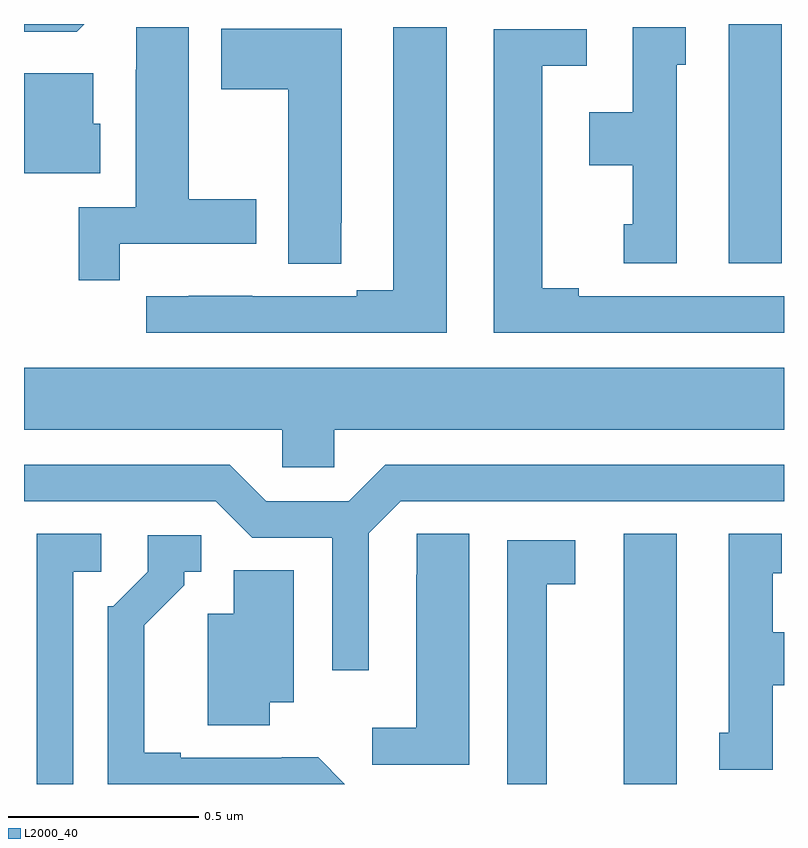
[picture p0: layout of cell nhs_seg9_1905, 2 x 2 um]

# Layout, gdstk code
import gdstk
lib = gdstk.Library(unit=1e-6, precision=1e-09)
def R(c, l, rs):  # rectangles x0, y0, x1, y1
    for r in rs: c.add(gdstk.rectangle(r[:2], r[2:], *l))
def P(c, l, *ps):  # polygons
    for p in ps: c.add(gdstk.Polygon(p, *l))
L2000_40 = (2000, 40)

nhs_seg9_1905 = lib.new_cell('nhs_seg9_1905')
R(nhs_seg9_1905, L2000_40, [(135.578,1183.5,135.718,1184.158), (135.854,1184.871,135.994,1185.5)])
P(nhs_seg9_1905, L2000_40, [(134.159,1185.5),(134,1185.5),(134,1185.48),(134.139,1185.48)],
  [(135.112,1185.491),(134.972,1185.491),(134.972,1184.799),(134.876,1184.799),(134.876,1184.784),(134.6,1184.784),(134.6,1184.785),(134.434,1184.785),(134.434,1184.784),(134.322,1184.784),(134.322,1184.688),(135.112,1184.688)],
  [(135.718,1185.393),(135.742,1185.393),(135.742,1185.491),(135.602,1185.491),(135.602,1185.268),(135.488,1185.268),(135.488,1185.128),(135.602,1185.128),(135.602,1184.973),(135.578,1184.973),(135.578,1184.871),(135.718,1184.871)],
  [(134.252,1184.922),(134.611,1184.922),(134.611,1185.039),(134.434,1185.039),(134.434,1185.491),(134.295,1185.491),(134.295,1185.38),(134.294,1185.38),(134.294,1185.018),(134.144,1185.018),(134.144,1184.826),(134.252,1184.826)],
  [(134.835,1184.977),(134.836,1184.977),(134.836,1185.487),(134.519,1185.487),(134.519,1185.328),(134.696,1185.328),(134.696,1184.869),(134.835,1184.869)],
  [(136,1184.784),(135.46,1184.784),(135.46,1184.804),(135.364,1184.804),(135.364,1185.39),(135.481,1185.39),(135.481,1185.486),(135.236,1185.486),(135.236,1184.688),(136,1184.688)],
  [(134.2,1185.237),(134.182,1185.237),(134.182,1185.37),(134,1185.37),(134,1185.107),(134.2,1185.107)],
  [(134.817,1184.432),(136,1184.432),(136,1184.596),(134,1184.596),(134,1184.432),(134.679,1184.432),(134.679,1184.334),(134.817,1184.334)],
  [(134.907,1184.16),(134.991,1184.244),(136,1184.244),(136,1184.34),(134.951,1184.34),(134.855,1184.244),(134.637,1184.244),(134.541,1184.34),(134,1184.34),(134,1184.244),(134.505,1184.244),(134.601,1184.148),(134.811,1184.148),(134.811,1183.8),(134.907,1183.8)],
  [(135.172,1184.159),(135.033,1184.159),(135.033,1184.051),(135.032,1184.051),(135.032,1183.648),(134.916,1183.648),(134.916,1183.551),(135.172,1183.551)],
  [(134.13,1184.058),(134.203,1184.058),(134.203,1184.159),(134.033,1184.159),(134.033,1183.5),(134.13,1183.5)],
  [(135.97,1183.76),(136,1183.76),(136,1183.9),(135.97,1183.9),(135.97,1184.055),(135.994,1184.055),(135.994,1184.158),(135.854,1184.158),(135.854,1183.635),(135.83,1183.635),(135.83,1183.537),(135.97,1183.537)],
  [(134.774,1183.57),(134.678,1183.57),(134.678,1183.569),(134.413,1183.569),(134.413,1183.582),(134.317,1183.582),(134.317,1183.918),(134.422,1184.023),(134.422,1184.058),(134.467,1184.058),(134.467,1184.154),(134.325,1184.154),(134.325,1184.058),(134.235,1183.968),(134.22,1183.968),(134.22,1183.5),(134.844,1183.5)],
  [(135.376,1184.026),(135.451,1184.026),(135.451,1184.142),(135.272,1184.142),(135.272,1183.5),(135.376,1183.5)],
  [(134.647,1183.715),(134.71,1183.715),(134.71,1184.063),(134.552,1184.063),(134.552,1183.948),(134.483,1183.948),(134.483,1183.654),(134.647,1183.654)])

lib.write_gds('nhs_seg9_1905.gds')
